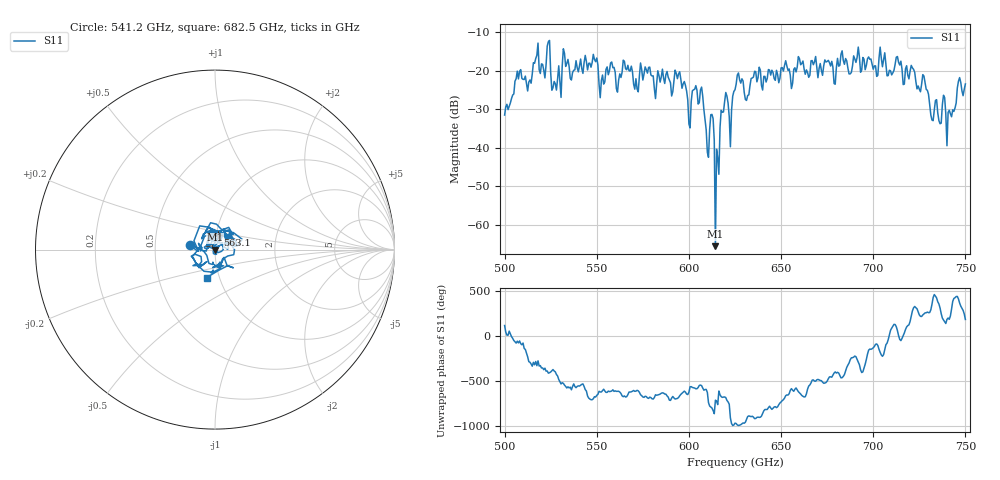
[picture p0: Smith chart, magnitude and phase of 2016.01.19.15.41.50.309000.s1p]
!Created with skrf (http://scikit-rf.org).
# GHz S RI R 50.0
!freq ReS11 ImS11
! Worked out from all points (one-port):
!   401 points, 500 GHz to 750 GHz, reference 50 ohm
!   lowest |S11| = -65.5 dB at 614.4 GHz (marker M1), VSWR 1.00, Z = 50.1 + j0.00423 ohm
!   |S11| at or under -10 dB: start of sweep to end of sweep
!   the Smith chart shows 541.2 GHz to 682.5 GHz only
!   S11 on the Smith chart (normalised r, x): 541.2 GHz: 0.76, +0.04; 563.1 GHz: 1.02, +0.16; 682.5 GHz: 0.87, -0.28
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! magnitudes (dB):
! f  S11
! 500 GHz  -31.5
! 507.5 GHz  -22.2
! 513.8 GHz  -22.4
! 516.9 GHz  -16.9
! 520.6 GHz  -18.4
! 523.8 GHz  -12.5
! 526.9 GHz  -22.8
! 531.2 GHz  -18.9
! 541.2 GHz  -17.0
! 562.5 GHz  -20.9
! 563.1 GHz  -21.8
! 593.8 GHz  -22.1
! 600 GHz  -33.8
! 606.9 GHz  -24.3
! 610 GHz  -41.2
! 612.5 GHz  -31.4
! 614.4 GHz  -65.5
! 615.6 GHz  -42.6
! 618.8 GHz  -30.7
! 622.5 GHz  -39.8
! 625 GHz  -25.0
! 656.2 GHz  -23.3
! 682.5 GHz  -15.8
! 687.5 GHz  -20.9
! 718.8 GHz  -21.2
! 741.2 GHz  -30.3
! 746.9 GHz  -21.8
! 750 GHz  -23.5
